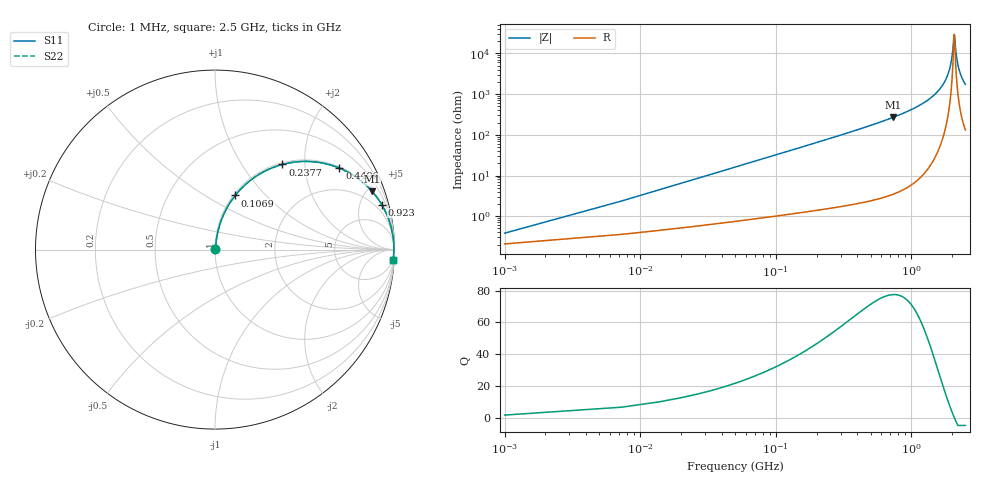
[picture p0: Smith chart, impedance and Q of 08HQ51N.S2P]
! Coilcraft 0805HQ-51N Chip Inductor
! 19 June 2002
# MHZ S MA R 50
!Freq  MagS11  AngS11  MagS21  AngS21  MagS12  AngS12  MagS22  AngS22
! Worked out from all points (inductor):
!   403 points, 1 MHz to 2.5 GHz, reference 50 ohm
!   read as one part in series: L = 51 nH near 13.46 MHz
!   highest Q = 77.6 at 729.9 MHz (marker M1), where L = 58.2 nH
!   self-resonance near 2.069 GHz
!   S11 on the Smith chart (normalised r, x): 1 MHz: 1.00, +0.01; 106.9 MHz: 1.02, +0.69; 237.7 MHz: 1.03, +1.54; 449.6 MHz: 1.04, +3.02; 923 MHz: 1.10, +7.38; 2.5 GHz: 4, -35
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1  0.003812 56.8  0.9979 -0.2  0.9979 -0.2  0.003812 56.8
19.69  0.06286 81.8  0.993 -3.6  0.993 -3.6  0.06286 81.8
32.15  0.1021 80.7  0.9887 -5.8  0.9887 -5.8  0.1021 80.7
63.3  0.1976 76.3  0.9723 -11.4  0.9723 -11.4  0.1976 76.3
106.91  0.322 69.5  0.9371 -18.8  0.9371 -18.8  0.322 69.5
237.74  0.6054 51.6  0.7841 -37.3  0.7841 -37.3  0.6054 51.6
418.41  0.8076 35.3  0.5777 -53.9  0.5777 -53.9  0.8076 35.3
449.56  0.8286 33.2  0.548 -55.9  0.548 -55.9  0.8286 33.2
729.91  0.9326 20.4  0.3491 -68.8  0.3491 -68.8  0.9326 20.4
835.82  0.951 17.3  0.2971 -72.0  0.2971 -72.0  0.951 17.3
923.04  0.962 15.1  0.2605 -74.1  0.2605 -74.1  0.962 15.1
1253.23  0.985 8.9  0.1553 -80.0  0.1553 -80.0  0.985 8.9
1670.64  0.995 3.7  0.06478 -83.7  0.06478 -83.7  0.995 3.7
1807.7  0.9962 2.3  0.04085 -83.4  0.04085 -83.4  0.9962 2.3
1907.38  0.9966 1.4  0.02473 -81.3  0.02473 -81.3  0.9966 1.4
1994.6  0.9967 0.6  0.01155 -72.9  0.01155 -72.9  0.9967 0.6
2063.13  0.9966 0.1  0.003512 -15.1  0.003512 -15.1  0.9966 0.1
2088.05  0.9966 -0.2  0.004359 37.9  0.004359 37.9  0.9966 -0.2
2144.12  0.9964 -0.6  0.01122 71.0  0.01122 71.0  0.9964 -0.6
2218.88  0.9961 -1.2  0.02127 78.8  0.02127 78.8  0.9961 -1.2
2337.25  0.9954 -2.1  0.03682 81.8  0.03682 81.8  0.9954 -2.1
2500  0.9941 -3.3  0.05714 82.4  0.05714 82.4  0.9941 -3.3
